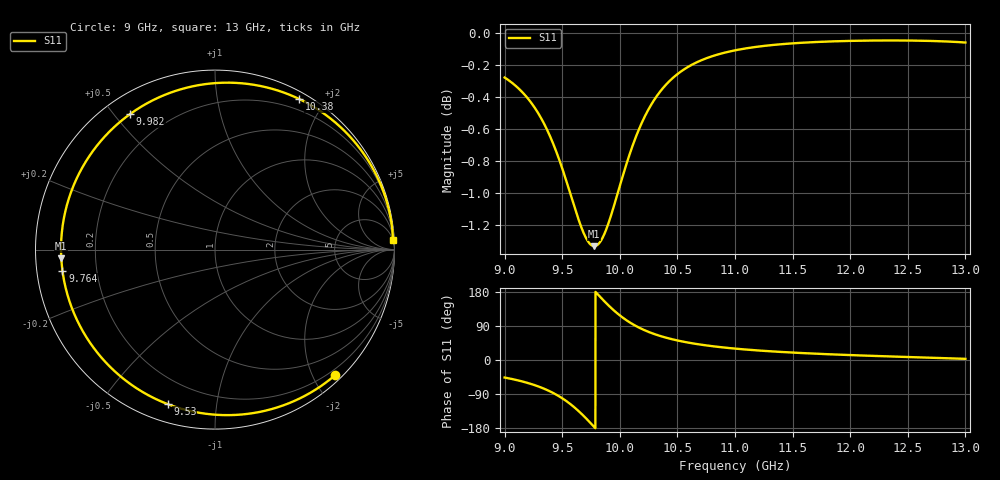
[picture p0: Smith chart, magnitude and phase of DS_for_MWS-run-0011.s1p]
! TOUCHSTONE file generated by CST DESIGN STUDIO
! Date and time: Tue Feb  4 18:11:22 2025
! Project name: C:\Work\MatlabApps\UnitCellOptimizationMatlab\CST\unitcell.cst
! Tree item: Tasks\Sweep1\SPara1\S-Parameters
! Header version: 2024
! Port assignment regex: !\s*Touchstone port\s*([0-9]+)\s*=\s*(CST MWS port|CST DES external port|CST DES block port)\s*(.+)\s* \(\"(.*)\"\)(\s*mode\s*([0-9]+))?.*
! Touchstone port assignment:
! Touchstone port 1 = CST DES external port 1 ("")
# GHz S MA R 50
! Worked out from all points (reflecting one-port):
!   4001 points, 9 GHz to 13 GHz, reference 50 ohm
!   lowest |S11| = -1.3 dB at 9.778 GHz (marker M1), VSWR 13.06, Z = 3.83 - j1.42 ohm
!   phase of S11 starts at -46 deg and turns -311 deg over the sweep
!   S11 on the Smith chart (normalised r, x): 9 GHz: 0.10, -2.34; 9.53 GHz: 0.08, -0.74; 9.764 GHz: 0.08, -0.07; 9.982 GHz: 0.08, +0.55; 10.38 GHz: 0.08, +1.70; 13 GHz: 5, +37
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9  0.9682 -46.3
9.143  0.959 -55.8
9.274  0.946 -67.7
9.388  0.9294 -81.9
9.448  0.9182 -91.4
9.5  0.9071 -100.9
9.53  0.9003 -107.1
9.588  0.8866 -120.5
9.643  0.8741 -135.0
9.708  0.8627 -154.3
9.764  0.858 -172.2
9.778  0.8578 -176.7
9.822  0.8597 168.9
9.868  0.8657 154.3
9.926  0.8774 137.1
9.982  0.8911 122.1
10  0.8957 117.7
10.069  0.9126 102.6
10.148  0.9295 88.4
10.258  0.9476 73.2
10.378  0.9612 60.9
10.5  0.9706 51.6
10.717  0.9806 39.9
11  0.9873 30.1
11.5  0.9923 19.6
12  0.994 13.0
12.5  0.9943 7.9
13  0.9929 3.1
